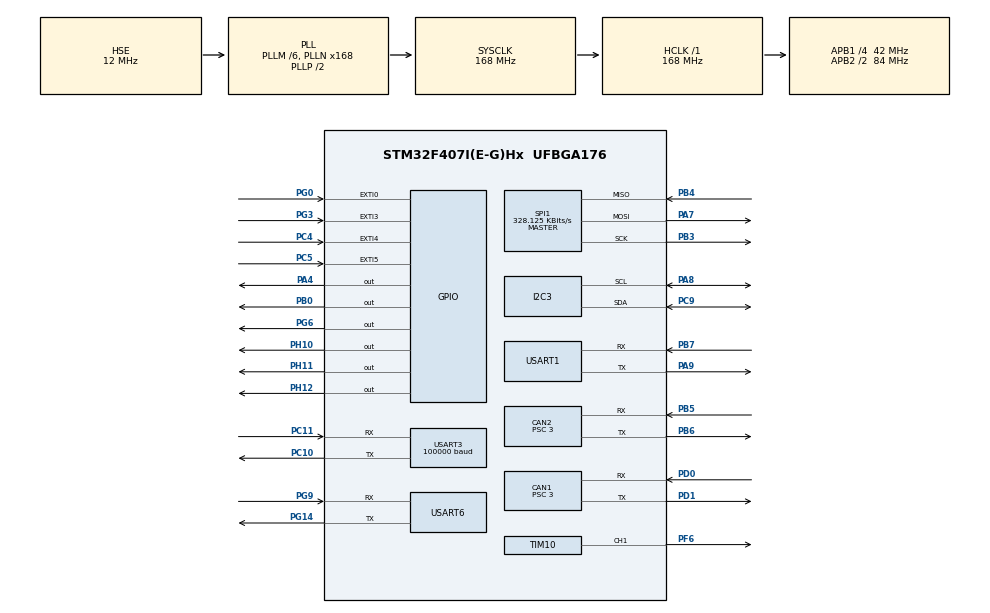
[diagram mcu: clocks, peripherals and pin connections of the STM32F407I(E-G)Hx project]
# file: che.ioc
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CAN1.BS1=CAN_BS1_10TQ
CAN1.BS2=CAN_BS2_3TQ
CAN1.CalculateBaudRate=1000000
CAN1.CalculateTimeBit=1000
CAN1.CalculateTimeQuantum=71.42857142857143
CAN1.Prescaler=3
CAN2.BS1=CAN_BS1_10TQ
CAN2.BS2=CAN_BS2_3TQ
CAN2.CalculateBaudRate=1000000
CAN2.CalculateTimeBit=1000
CAN2.CalculateTimeQuantum=71.42857142857143
CAN2.Prescaler=3
Dma.Request0=USART1_TX
Dma.Request1=USART3_RX
Dma.Request2=USART1_RX
Dma.Request3=SPI1_RX
Dma.Request4=SPI1_TX
Dma.Request5=USART6_RX
Dma.Request6=USART6_TX
Dma.SPI1_RX.3.Direction=DMA_PERIPH_TO_MEMORY
Dma.SPI1_RX.3.FIFOMode=DMA_FIFOMODE_DISABLE
Dma.SPI1_RX.3.Instance=DMA2_Stream2
Dma.SPI1_RX.3.MemDataAlignment=DMA_MDATAALIGN_BYTE
Dma.SPI1_RX.3.MemInc=DMA_MINC_ENABLE
Dma.SPI1_RX.3.Mode=DMA_NORMAL
Dma.SPI1_RX.3.PeriphDataAlignment=DMA_PDATAALIGN_BYTE
Dma.SPI1_RX.3.PeriphInc=DMA_PINC_DISABLE
Dma.SPI1_RX.3.Priority=DMA_PRIORITY_VERY_HIGH
Dma.SPI1_TX.4.Direction=DMA_MEMORY_TO_PERIPH
Dma.SPI1_TX.4.FIFOMode=DMA_FIFOMODE_DISABLE
Dma.SPI1_TX.4.Instance=DMA2_Stream3
Dma.SPI1_TX.4.MemDataAlignment=DMA_MDATAALIGN_BYTE
Dma.SPI1_TX.4.MemInc=DMA_MINC_ENABLE
Dma.SPI1_TX.4.Mode=DMA_NORMAL
Dma.SPI1_TX.4.PeriphDataAlignment=DMA_PDATAALIGN_BYTE
Dma.SPI1_TX.4.PeriphInc=DMA_PINC_DISABLE
Dma.SPI1_TX.4.Priority=DMA_PRIORITY_HIGH
Dma.USART1_RX.2.Direction=DMA_PERIPH_TO_MEMORY
Dma.USART1_RX.2.FIFOMode=DMA_FIFOMODE_DISABLE
Dma.USART1_RX.2.Instance=DMA2_Stream5
Dma.USART1_RX.2.MemDataAlignment=DMA_MDATAALIGN_BYTE
Dma.USART1_RX.2.MemInc=DMA_MINC_ENABLE
Dma.USART1_RX.2.Mode=DMA_CIRCULAR
Dma.USART1_RX.2.PeriphDataAlignment=DMA_PDATAALIGN_BYTE
Dma.USART1_RX.2.PeriphInc=DMA_PINC_DISABLE
Dma.USART1_RX.2.Priority=DMA_PRIORITY_HIGH
Dma.USART1_TX.0.Direction=DMA_MEMORY_TO_PERIPH
Dma.USART1_TX.0.FIFOMode=DMA_FIFOMODE_DISABLE
Dma.USART1_TX.0.Instance=DMA2_Stream7
Dma.USART1_TX.0.MemDataAlignment=DMA_MDATAALIGN_BYTE
Dma.USART1_TX.0.MemInc=DMA_MINC_ENABLE
Dma.USART1_TX.0.Mode=DMA_NORMAL
Dma.USART1_TX.0.PeriphDataAlignment=DMA_PDATAALIGN_BYTE
Dma.USART1_TX.0.PeriphInc=DMA_PINC_DISABLE
Dma.USART1_TX.0.Priority=DMA_PRIORITY_VERY_HIGH
Dma.USART3_RX.1.Direction=DMA_PERIPH_TO_MEMORY
Dma.USART3_RX.1.FIFOMode=DMA_FIFOMODE_DISABLE
Dma.USART3_RX.1.Instance=DMA1_Stream1
Dma.USART3_RX.1.MemDataAlignment=DMA_MDATAALIGN_BYTE
Dma.USART3_RX.1.MemInc=DMA_MINC_ENABLE
Dma.USART3_RX.1.Mode=DMA_CIRCULAR
Dma.USART3_RX.1.PeriphDataAlignment=DMA_PDATAALIGN_BYTE
Dma.USART3_RX.1.PeriphInc=DMA_PINC_DISABLE
Dma.USART3_RX.1.Priority=DMA_PRIORITY_HIGH
Dma.USART6_RX.5.Direction=DMA_PERIPH_TO_MEMORY
Dma.USART6_RX.5.FIFOMode=DMA_FIFOMODE_DISABLE
Dma.USART6_RX.5.Instance=DMA2_Stream1
Dma.USART6_RX.5.MemDataAlignment=DMA_MDATAALIGN_BYTE
Dma.USART6_RX.5.MemInc=DMA_MINC_ENABLE
Dma.USART6_RX.5.Mode=DMA_CIRCULAR
Dma.USART6_RX.5.PeriphDataAlignment=DMA_PDATAALIGN_BYTE
Dma.USART6_RX.5.PeriphInc=DMA_PINC_DISABLE
Dma.USART6_RX.5.Priority=DMA_PRIORITY_VERY_HIGH
Dma.USART6_TX.6.Direction=DMA_MEMORY_TO_PERIPH
Dma.USART6_TX.6.FIFOMode=DMA_FIFOMODE_DISABLE
Dma.USART6_TX.6.Instance=DMA2_Stream6
Dma.USART6_TX.6.MemDataAlignment=DMA_MDATAALIGN_BYTE
Dma.USART6_TX.6.MemInc=DMA_MINC_ENABLE
Dma.USART6_TX.6.Mode=DMA_NORMAL
Dma.USART6_TX.6.PeriphDataAlignment=DMA_PDATAALIGN_BYTE
Dma.USART6_TX.6.PeriphInc=DMA_PINC_DISABLE
Dma.USART6_TX.6.Priority=DMA_PRIORITY_HIGH
FREERTOS.INCLUDE_eTaskGetState=1
FREERTOS.INCLUDE_pcTaskGetTaskName=1
FREERTOS.INCLUDE_uxTaskGetStackHighWaterMark=1
FREERTOS.INCLUDE_uxTaskGetStackHighWaterMark2=1
FREERTOS.INCLUDE_vTaskCleanUpResources=1
FREERTOS.INCLUDE_vTaskDelayUntil=1
FREERTOS.INCLUDE_xQueueGetMutexHolder=1
FREERTOS.INCLUDE_xSemaphoreGetMutexHolder=1
FREERTOS.INCLUDE_xTaskAbortDelay=1
FREERTOS.INCLUDE_xTaskGetCurrentTaskHandle=1
FREERTOS.INCLUDE_xTaskGetHandle=1
FREERTOS.Tasks01=LED,0,128,led_task,As weak,NULL,Dynamic,NULL,NULL;IMUTask,3,1024,IMUFun,As weak,NULL,Dynamic,NULL,NULL;ChassisTask,2,128,ChassisFun,As weak,NULL,Dynamic,NULL,NULL;GimbalTask,2,128,GimbalFun,As weak,NULL,Dynamic,NULL,NULL
I2C3.I2C_Mode=I2C_Fast
Mcu.Family=STM32F4
Mcu.Name=STM32F407I(E-G)Hx
Mcu.Package=UFBGA176
NVIC.CAN1_RX0_IRQn=true\:5\:0\:false\:false\:true\:true\:true\:true\:true
NVIC.CAN2_RX0_IRQn=true\:5\:0\:false\:false\:true\:true\:true\:true\:true
NVIC.DMA1_Stream1_IRQn=true\:5\:0\:false\:false\:true\:true\:false\:true\:true
NVIC.DMA2_Stream1_IRQn=true\:5\:0\:true\:false\:true\:true\:false\:true\:true
NVIC.DMA2_Stream2_IRQn=true\:5\:0\:false\:false\:true\:true\:false\:true\:true
NVIC.DMA2_Stream3_IRQn=true\:5\:0\:false\:false\:true\:true\:false\:true\:true
NVIC.DMA2_Stream5_IRQn=true\:5\:0\:false\:false\:true\:false\:false\:true\:true
NVIC.DMA2_Stream6_IRQn=true\:5\:0\:false\:false\:true\:true\:false\:true\:true
NVIC.DMA2_Stream7_IRQn=true\:5\:0\:false\:false\:true\:true\:false\:true\:true
NVIC.EXTI0_IRQn=true\:5\:0\:false\:false\:true\:false\:true\:true\:true
NVIC.EXTI4_IRQn=true\:5\:0\:false\:false\:true\:false\:true\:true\:true
NVIC.EXTI9_5_IRQn=true\:5\:0\:false\:false\:true\:false\:true\:true\:true
NVIC.PriorityGroup=NVIC_PRIORITYGROUP_4
NVIC.TIM2_IRQn=true\:15\:0\:false\:false\:true\:false\:false\:true\:true
NVIC.TIM3_IRQn=true\:5\:0\:false\:false\:true\:true\:true\:true\:true
NVIC.TimeBase=TIM2_IRQn
NVIC.TimeBaseIP=TIM2
NVIC.USART1_IRQn=true\:5\:0\:false\:false\:true\:true\:true\:true\:true
NVIC.USART3_IRQn=true\:5\:0\:false\:false\:true\:true\:true\:true\:true
NVIC.USART6_IRQn=true\:6\:0\:true\:false\:true\:true\:true\:true\:true
PA13.Mode=Serial_Wire
PA13.Signal=SYS_JTMS-SWDIO
PA14.Mode=Serial_Wire
PA14.Signal=SYS_JTCK-SWCLK
PA4.GPIO_PuPd=GPIO_PULLUP
PA4.GPIO_Speed=GPIO_SPEED_FREQ_HIGH
PA4.PinState=GPIO_PIN_SET
PA4.Signal=GPIO_Output
PA7.GPIO_PuPd=GPIO_PULLUP
PA7.Mode=Full_Duplex_Master
PA7.Signal=SPI1_MOSI
PA8.GPIO_Pu=GPIO_PULLUP
PA8.Mode=I2C
PA8.Signal=I2C3_SCL
PA9.Mode=Asynchronous
PA9.Signal=USART1_TX
PB0.GPIO_PuPd=GPIO_PULLUP
PB0.GPIO_Speed=GPIO_SPEED_FREQ_HIGH
PB0.PinState=GPIO_PIN_SET
PB0.Signal=GPIO_Output
PB3.GPIO_PuPd=GPIO_PULLUP
PB3.Mode=Full_Duplex_Master
PB3.Signal=SPI1_SCK
PB4.GPIO_PuPd=GPIO_PULLUP
PB4.Mode=Full_Duplex_Master
PB4.Signal=SPI1_MISO
PB5.Mode=CAN_Activate
PB5.Signal=CAN2_RX
PB6.Mode=CAN_Activate
PB6.Signal=CAN2_TX
PB7.Mode=Asynchronous
PB7.Signal=USART1_RX
PC10.GPIO_PuPd=GPIO_PULLUP
PC10.Mode=Asynchronous
PC10.Signal=USART3_TX
PC11.GPIO_PuPd=GPIO_PULLUP
PC11.Mode=Asynchronous
PC11.Signal=USART3_RX
PC4.GPIO_PuPd=GPIO_PULLUP
PC4.Signal=GPXTI4
PC5.GPIO_PuPd=GPIO_PULLUP
PC5.Signal=GPXTI5
PC9.GPIO_Pu=GPIO_PULLUP
PC9.Mode=I2C
PC9.Signal=I2C3_SDA
PD0.Mode=CAN_Activate
PD0.Signal=CAN1_RX
PD1.Mode=CAN_Activate
PD1.Signal=CAN1_TX
PF6.GPIO_PuPd=GPIO_PULLUP
PF6.GPIO_Speed=GPIO_SPEED_FREQ_VERY_HIGH
PF6.Signal=S_TIM10_CH1
PG0.GPIO_PuPd=GPIO_PULLUP
PG0.Signal=GPXTI0
PG14.GPIO_PuPd=GPIO_NOPULL
PG14.Mode=Asynchronous
PG14.Signal=USART6_TX
PG3.GPIO_PuPd=GPIO_PULLUP
PG3.Signal=GPXTI3
PG6.GPIO_PuPd=GPIO_PULLUP
PG6.GPIO_Speed=GPIO_SPEED_FREQ_MEDIUM
PG6.PinState=GPIO_PIN_SET
PG6.Signal=GPIO_Output
PG9.GPIO_PuPd=GPIO_NOPULL
PG9.Mode=Asynchronous
PG9.Signal=USART6_RX
PH0-OSC_IN.Mode=HSE-External-Oscillator
PH0-OSC_IN.Signal=RCC_OSC_IN
PH1-OSC_OUT.Mode=HSE-External-Oscillator
PH1-OSC_OUT.Signal=RCC_OSC_OUT
PH10.PinState=GPIO_PIN_SET
PH10.Signal=GPIO_Output
PH11.PinState=GPIO_PIN_SET
PH11.Signal=GPIO_Output
PH12.PinState=GPIO_PIN_SET
PH12.Signal=GPIO_Output
ProjectManager.HeapSize=0x200
ProjectManager.StackSize=0x400
ProjectManager.TargetToolchain=MDK-ARM V5
RCC.48MHZClocksFreq_Value=84000000
RCC.AHBFreq_Value=168000000
RCC.APB1CLKDivider=RCC_HCLK_DIV4
RCC.APB1Freq_Value=42000000
RCC.APB1TimFreq_Value=84000000
RCC.APB2CLKDivider=RCC_HCLK_DIV2
RCC.APB2Freq_Value=84000000
RCC.APB2TimFreq_Value=168000000
RCC.CortexFreq_Value=168000000
RCC.HCLKFreq_Value=168000000
RCC.HSE_VALUE=12000000
RCC.HSI_VALUE=16000000
RCC.LSE_VALUE=32768
RCC.PLLM=6
RCC.PLLN=168
RCC.PLLSourceVirtual=RCC_PLLSOURCE_HSE
RCC.SYSCLKFreq_VALUE=168000000
RCC.SYSCLKSource=RCC_SYSCLKSOURCE_PLLCLK
RCC.VCOOutputFreq_Value=336000000
SH.S_TIM10_CH1.0=TIM10_CH1,PWM Generation1 CH1
SPI1.BaudRatePrescaler=SPI_BAUDRATEPRESCALER_256
SPI1.CLKPhase=SPI_PHASE_2EDGE
SPI1.CLKPolarity=SPI_POLARITY_HIGH
SPI1.CalculateBaudRate=328.125 KBits/s
SPI1.Direction=SPI_DIRECTION_2LINES
SPI1.Mode=SPI_MODE_MASTER
SPI1.VirtualType=VM_MASTER
STMicroelectronics.X-CUBE-ALGOBUILD.1.4.0.LibraryCcDSPOoLibraryJjDSPOoLibrary=true
TIM10.Channel=TIM_CHANNEL_1
TIM10.Period=4999
TIM3.AutoReloadPreload=TIM_AUTORELOAD_PRELOAD_ENABLE
TIM3.Period=10000-1
TIM3.Prescaler=16800-1
USART1.Parity=PARITY_NONE
USART1.VirtualMode=VM_ASYNC
USART3.BaudRate=100000
USART3.Parity=PARITY_EVEN
USART3.VirtualMode=VM_ASYNC
USART6.VirtualMode=VM_ASYNC
VP_FREERTOS_VS_CMSIS_V1.Mode=CMSIS_V1
VP_STMicroelectronics.X-CUBE-ALGOBUILD_VS_DSPOoLibraryJjLibrary_1.4.0_1.4.0.Mode=DSPOoLibraryJjLibrary
VP_SYS_VS_tim2.Mode=TIM2
VP_TIM10_VS_ClockSourceINT.Mode=Enable_Timer
VP_TIM3_VS_ClockSourceINT.Mode=Internal
board=custom

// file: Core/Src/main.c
/* USER CODE BEGIN Header */
/**
  ******************************************************************************
  * @file           : main.c
  * @brief          : Main program body
  ******************************************************************************
  * @attention
  *
  * Copyright (c) 2024 STMicroelectronics.
  * All rights reserved.
  *
  * This software is licensed under terms that can be found in the LICENSE file
  * in the root directory of this software component.
  * If no LICENSE file comes with this software, it is provided AS-IS.
  *
  ******************************************************************************
  */
/* USER CODE END Header */
#include "main.h"
#include "cmsis_os.h"
#include "can.h"
#include "dma.h"
#include "i2c.h"
#include "spi.h"
#include "tim.h"
#include "usart.h"
#include "gpio.h"

/* USER CODE BEGIN Includes */
#include "BSP_CAN.h"
#include "dbus.h"
#include "pid.h"
#include "judge.h"
/* USER CODE END Includes */

/* USER CODE BEGIN PM */
uint8_t judge_rx_buff[JUDGE_MAX_LENGTH];
/* USER CODE END PM */

void SystemClock_Config(void);
void MX_FREERTOS_Init(void);

int main(void)
{

  /* MCU Configuration--------------------------------------------------------*/

  /* Reset of all peripherals, Initializes the Flash interface and the Systick. */
  HAL_Init();

  /* Configure the system clock */
  SystemClock_Config();

  /* Initialize all configured peripherals */
  MX_GPIO_Init();
  MX_DMA_Init();
  MX_CAN1_Init();
  MX_CAN2_Init();
  MX_USART1_UART_Init();
  MX_USART3_UART_Init();
  MX_SPI1_Init();
  MX_I2C3_Init();
  MX_TIM10_Init();
  MX_TIM3_Init();
  MX_USART6_UART_Init();
  /* USER CODE BEGIN 2 */
//	dbus_uart_init();

	__HAL_UART_ENABLE_IT(&huart6, UART_IT_IDLE);//使能idle中断,用于裁判系统读取
	HAL_UART_Receive_DMA(&huart6,judge_rx_buff,2000);//打开DMA接收，数据存入rx_buffer_judge数组中

	HAL_TIM_Base_Start_IT(&htim3);
	my_can_filter_init_recv_all(&hcan1);
	HAL_CAN_Start(&hcan1);
	HAL_CAN_ActivateNotification(&hcan1,CAN_IT_RX_FIFO0_MSG_PENDING);
	my_can_filter_init_recv_all(&hcan2);
	HAL_CAN_Start(&hcan2);
	HAL_CAN_ActivateNotification(&hcan2,CAN_IT_RX_FIFO0_MSG_PENDING);

	dbus_uart_init();
  /* USER CODE END 2 */

  /* Call init function for freertos objects (in cmsis_os2.c) */
  MX_FREERTOS_Init();

  /* Start scheduler */
  osKernelStart();

  /* We should never get here as control is now taken by the scheduler */

  /* Infinite loop */
  /* USER CODE BEGIN WHILE */
  while (1)
  {
	//HAL_GPIO_TogglePin(GPIOH, GPIO_PIN_10);
// HAL_GPIO_TogglePin(GPIOH, GPIO_PIN_11);
// HAL_GPIO_TogglePin(GPIOH, GPIO_PIN_12);
////		HAL_UART_Transmit_DMA(&huart6, (uint8_t *)Txbuf, sizeof(Txbuf));
////    HAL_UART_Receive_DMA(&huart6,rx,sizeof(rx));
//HAL_Delay(500);

    /* USER CODE END WHILE */

  }
}

void SystemClock_Config(void)
{
  RCC_OscInitTypeDef RCC_OscInitStruct = {0};
  RCC_ClkInitTypeDef RCC_ClkInitStruct = {0};

  /** Configure the main internal regulator output voltage
  */
  __HAL_RCC_PWR_CLK_ENABLE();
  __HAL_PWR_VOLTAGESCALING_CONFIG(PWR_REGULATOR_VOLTAGE_SCALE1);

  /** Initializes the RCC Oscillators according to the specified parameters
  * in the RCC_OscInitTypeDef structure.
  */
  RCC_OscInitStruct.OscillatorType = RCC_OSCILLATORTYPE_HSE;
  RCC_OscInitStruct.HSEState = RCC_HSE_ON;
  RCC_OscInitStruct.PLL.PLLState = RCC_PLL_ON;
  RCC_OscInitStruct.PLL.PLLSource = RCC_PLLSOURCE_HSE;
  RCC_OscInitStruct.PLL.PLLM = 6;
  RCC_OscInitStruct.PLL.PLLN = 168;
  RCC_OscInitStruct.PLL.PLLP = RCC_PLLP_DIV2;
  RCC_OscInitStruct.PLL.PLLQ = 4;
  if (HAL_RCC_OscConfig(&RCC_OscInitStruct) != HAL_OK)
  {
    Error_Handler();
  }

  /** Initializes the CPU, AHB and APB buses clocks
  */
  RCC_ClkInitStruct.ClockType = RCC_CLOCKTYPE_HCLK|RCC_CLOCKTYPE_SYSCLK
                              |RCC_CLOCKTYPE_PCLK1|RCC_CLOCKTYPE_PCLK2;
  RCC_ClkInitStruct.SYSCLKSource = RCC_SYSCLKSOURCE_PLLCLK;
  RCC_ClkInitStruct.AHBCLKDivider = RCC_SYSCLK_DIV1;
  RCC_ClkInitStruct.APB1CLKDivider = RCC_HCLK_DIV4;
  RCC_ClkInitStruct.APB2CLKDivider = RCC_HCLK_DIV2;

  if (HAL_RCC_ClockConfig(&RCC_ClkInitStruct, FLASH_LATENCY_5) != HAL_OK)
  {
    Error_Handler();
  }
}

/* USER CODE BEGIN 4 */
void AngleLoop_f (float* angle ,float max){
	while((*angle<-(max/2)) ||(*angle>(max/2)))
	{
		if(*angle<-(max/2))
		{
			*angle+=max;
		}
		else if(*angle>(max/2))
		{
			*angle-=max;
		}
  }
}
uint16_t chassis_task_frequent = 0;
     uint16_t  CAN_RX_data_Frequent = 0 ;
     uint16_t  CAN_RX_data_add = 0;
     uint16_t shoot_task_frequent = 0 ;
     uint16_t shoot_task_add = 0;
     uint16_t IMU_task_frequent = 0;
     uint16_t IMU_task_add = 0;
     uint16_t cap_add=0;
     uint16_t cap_frequent=0;
/* USER CODE END 4 */

void HAL_TIM_PeriodElapsedCallback(TIM_HandleTypeDef *htim)
{
  if (htim->Instance == TIM2) {
    HAL_IncTick();
  }
}

void Error_Handler(void)
{
  __disable_irq();
  while (1)
  {
  }
}

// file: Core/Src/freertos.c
/* USER CODE BEGIN Header */
/**
  ******************************************************************************
  * File Name          : freertos.c
  * Description        : Code for freertos applications
  ******************************************************************************
  * @attention
  *
  * Copyright (c) 2024 STMicroelectronics.
  * All rights reserved.
  *
  * This software is licensed under terms that can be found in the LICENSE file
  * in the root directory of this software component.
  * If no LICENSE file comes with this software, it is provided AS-IS.
  *
  ******************************************************************************
  */
/* USER CODE END Header */

#include "FreeRTOS.h"
#include "task.h"
#include "main.h"
#include "cmsis_os.h"

osThreadId LEDHandle;
osThreadId IMUTaskHandle;
osThreadId ChassisTaskHandle;
osThreadId GimbalTaskHandle;

void led_task(void const * argument);
void IMUFun(void const * argument);
void ChassisFun(void const * argument);
void GimbalFun(void const * argument);

void MX_FREERTOS_Init(void); /* (MISRA C 2004 rule 8.1) */

/* GetIdleTaskMemory prototype (linked to static allocation support) */
void vApplicationGetIdleTaskMemory( StaticTask_t **ppxIdleTaskTCBBuffer, StackType_t **ppxIdleTaskStackBuffer, uint32_t *pulIdleTaskStackSize );

/* USER CODE BEGIN GET_IDLE_TASK_MEMORY */
static StaticTask_t xIdleTaskTCBBuffer;
static StackType_t xIdleStack[configMINIMAL_STACK_SIZE];

void vApplicationGetIdleTaskMemory( StaticTask_t **ppxIdleTaskTCBBuffer, StackType_t **ppxIdleTaskStackBuffer, uint32_t *pulIdleTaskStackSize )
{
  *ppxIdleTaskTCBBuffer = &xIdleTaskTCBBuffer;
  *ppxIdleTaskStackBuffer = &xIdleStack[0];
  *pulIdleTaskStackSize = configMINIMAL_STACK_SIZE;
  /* place for user code */
}
/* USER CODE END GET_IDLE_TASK_MEMORY */

void MX_FREERTOS_Init(void) {

  /* Create the thread(s) */
  /* definition and creation of LED */
  osThreadDef(LED, led_task, osPriorityNormal, 0, 128);
  LEDHandle = osThreadCreate(osThread(LED), NULL);

  /* definition and creation of IMUTask */
  osThreadDef(IMUTask, IMUFun, osPriorityRealtime, 0, 1024);
  IMUTaskHandle = osThreadCreate(osThread(IMUTask), NULL);

  /* definition and creation of ChassisTask */
  osThreadDef(ChassisTask, ChassisFun, osPriorityHigh, 0, 128);
  ChassisTaskHandle = osThreadCreate(osThread(ChassisTask), NULL);

  /* definition and creation of GimbalTask */
  osThreadDef(GimbalTask, GimbalFun, osPriorityHigh, 0, 128);
  GimbalTaskHandle = osThreadCreate(osThread(GimbalTask), NULL);

}

__weak void led_task(void const * argument)
{
  for(;;)
  {
    osDelay(1);
  }
}

__weak void IMUFun(void const * argument)
{
  for(;;)
  {
    osDelay(1);
  }
}

__weak void ChassisFun(void const * argument)
{
  for(;;)
  {
    osDelay(1);
  }
}

__weak void GimbalFun(void const * argument)
{
  for(;;)
  {
    osDelay(1);
  }
}
